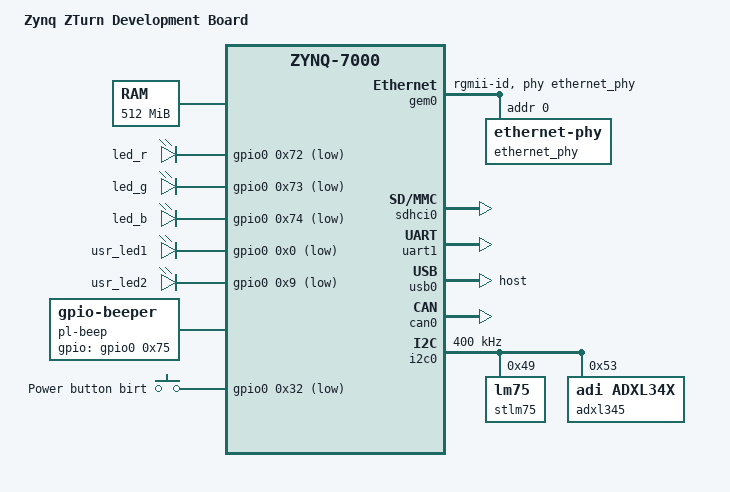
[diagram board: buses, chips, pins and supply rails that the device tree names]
/*
 * 
 *
 */
/dts-v1/;
#include "zynq-7000.dtsi"

/ {
	model = "Zynq ZTurn Development Board";
	compatible = "myir,zynq-zturn", "xlnx,zynq-7000";

	aliases {
		ethernet0 = &gem0;
		serial0 = &uart1;
		mmc0 = &sdhci0;
	};

	memory {
		device_type = "memory";
		reg = <0x0 0x20000000>;
	};

	chosen {
		bootargs = "";
		stdout-path = "serial0:115200n8";
	};

	gpio-leds {
		compatible = "gpio-leds";
		led_r {
			label = "led_r";
			gpios = <&gpio0 0x72 0x1>;
			default-state = "on";
			linux,default-trigger = "heartbeat";
		};

		led_g {
			label = "led_g";
			gpios = <&gpio0 0x73 0x1>;
			default-state = "on";
			linux,default-trigger = "heartbeat";
		};

		led_b {
			label = "led_b";
			gpios = <&gpio0 0x74 0x1>;
			default-state = "on";
			linux,default-trigger = "heartbeat";
		};

		usr_led1 {
			label = "usr_led1";
			gpios = <&gpio0 0x0 0x1>;
			default-state = "off";
			linux,default-trigger = "none";
		};

		usr_led2 {
			label = "usr_led2";
			gpios = <&gpio0 0x9 0x1>;
			default-state = "off";
			linux,default-trigger = "none";
		};
	};

	gpio-beep {
		compatible = "gpio-beeper";
		label = "pl-beep";
		gpios = <&gpio0 0x75 0x0>;
	};

	gpio-keys {
		compatible = "gpio-keys";
		#address-cells = <0x1>;
		#size-cells = <0x0>;
		autorepeat;

		button_power_at_0 {
			label = "Power button birt";
			/* EMI050, active low */
			gpios = <&gpio0 0x32 0x1>;
			linux,code = <0x74>;
			gpio-key,wakeup;
			autorepeat;
			/* uncomment the following line to
			 * make the button react only to a
			 * protracted pressure
			 */
			/* debounce-interval = <3000>; */
		};
	};
};

&clkc {
	ps-clk-frequency = <33333333>;
    fclk-enable = <0xf>;
};

&gem0 {
	status = "okay";
	phy-mode = "rgmii-id";
	phy-handle = <&ethernet_phy>;

	ethernet_phy: ethernet-phy@0 {
		reg = <0>;
	};
};

&sdhci0 {
	status = "okay";
};

&uart1 {
	status = "okay";
};

&usb0 {
	status = "okay";
	dr_mode = "host";
};

&can0 {
	status = "okay";
};

&i2c0 {
	status = "okay";
	clock-frequency = <400000>;

	stlm75@49 {
		status = "okay";
		compatible = "lm75";
		reg = <0x49>;
	};

	adxl345@53 {
		compatible = "adi,adxl34x", "adxl34x";
		reg = <0x53>;
		interrupt-parent = <&intc>;
		interrupts = <0x0 0x1e 0x4>;
	};
};
